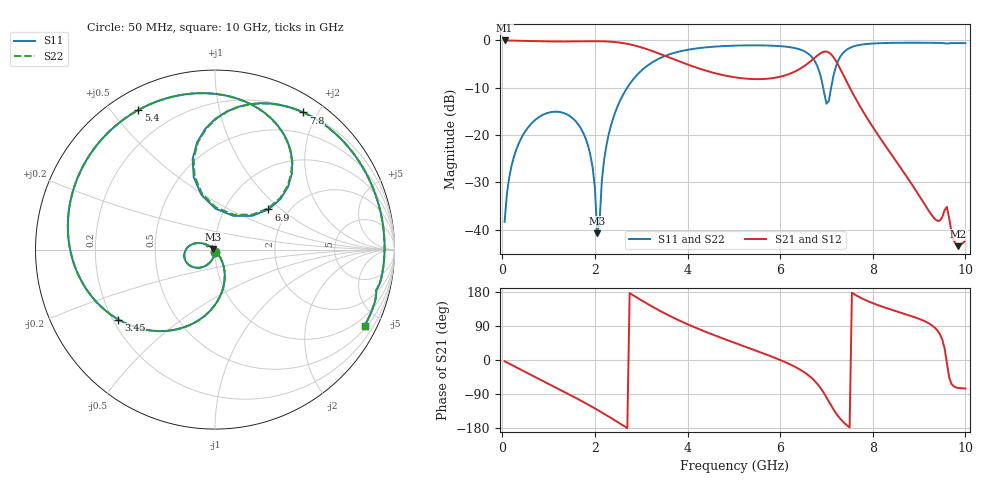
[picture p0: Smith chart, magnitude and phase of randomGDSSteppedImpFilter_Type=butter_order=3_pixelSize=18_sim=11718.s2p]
! freq	dB(S11)	phase(S11)	dB(S12)	phase(S12)
!  dB(S21)	phase(S21)	dB(S22)	phase(S22)
!S-par simulation data
#  GHz  S  DB  R 50
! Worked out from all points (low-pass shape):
!   200 points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, 50 MHz to 10 GHz, reference 50 ohm
!   highest |S21| = -0.01 dB at 50 MHz (marker M1); lowest = -43.5 dB at 9.85 GHz (marker M2)
!   |S21| within 3 dB of the highest: start of sweep to 3.446 GHz; 6.83 GHz to 7.107 GHz (276.4 MHz wide, 3.97 % of centre)
!   lowest |S11| = -40.8 dB at 2.05 GHz (marker M3), VSWR 1.02, Z = 49.2 + j0.325 ohm
!   |S11| at or under -10 dB: start of sweep to 2.698 GHz; 6.929 GHz to 7.101 GHz (172.5 MHz wide, 2.46 % of centre)
!   |S22| runs from -40.7 to -0.5 dB; largest |S21 - S12| = 0
!   S11 on the Smith chart (normalised r, x): 50 MHz: 1.00, -0.02; 3.45 GHz: 0.22, -0.31; 5.4 GHz: 0.08, +0.59; 6.9 GHz: 1.59, +0.82; 7.8 GHz: 0.21, +1.82; 10 GHz: 0.60, -4.08
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0.05  -38.38 -92.7  -0.01 -3.2  -0.01 -3.2  -38.38 -92.7
0.25  -24.65 -106.0  -0.04 -16.0  -0.04 -16.0  -24.65 -106.0
0.6  -17.88 -128.5  -0.12 -38.0  -0.12 -38.0  -17.88 -128.5
1.75  -19.58 159.7  -0.18 -110.7  -0.18 -110.7  -19.58 159.7
1.95  -26.84 148.3  -0.16 -124.3  -0.16 -124.3  -26.83 148.4
2.05  -40.75 158.9  -0.16 -131.3  -0.16 -131.3  -40.72 158.9
2.2  -25.18 -56.5  -0.20 -142.1  -0.20 -142.1  -25.18 -56.5
2.45  -14.90 -72.8  -0.36 -160.7  -0.36 -160.7  -14.90 -72.8
3.4  -3.77 -140.9  -2.83 130.0  -2.83 130.0  -3.77 -140.9
3.45  -3.55 -144.1  -3.02 126.8  -3.02 126.8  -3.55 -144.1
5.05  -1.09 134.2  -7.84 43.8  -7.84 43.8  -1.09 134.2
5.4  -1.04 118.8  -8.17 28.2  -8.17 28.2  -1.04 118.9
6.7  -3.70 48.7  -4.05 -49.7  -4.05 -49.7  -3.69 49.1
6.9  -8.58 36.9  -2.56 -79.0  -2.56 -79.0  -8.51 37.7
7  -13.38 61.1  -2.35 -98.6  -2.35 -98.6  -13.12 61.7
7.2  -5.67 103.8  -4.27 -139.3  -4.27 -139.3  -5.63 103.2
7.8  -0.83 57.2  -15.18 160.5  -15.18 160.5  -0.82 57.0
8.35  -0.53 31.2  -23.37 134.8  -23.37 134.8  -0.52 31.1
9.35  -0.51 -6.1  -37.85 84.0  -37.85 84.0  -0.51 -6.3
9.6  -0.66 -14.2  -35.20 -7.8  -35.20 -7.8  -0.68 -14.3
9.85  -0.56 -22.2  -43.51 -73.8  -43.51 -73.8  -0.56 -22.2
10  -0.58 -27.0  -42.26 -75.3  -42.26 -75.3  -0.58 -27.0
